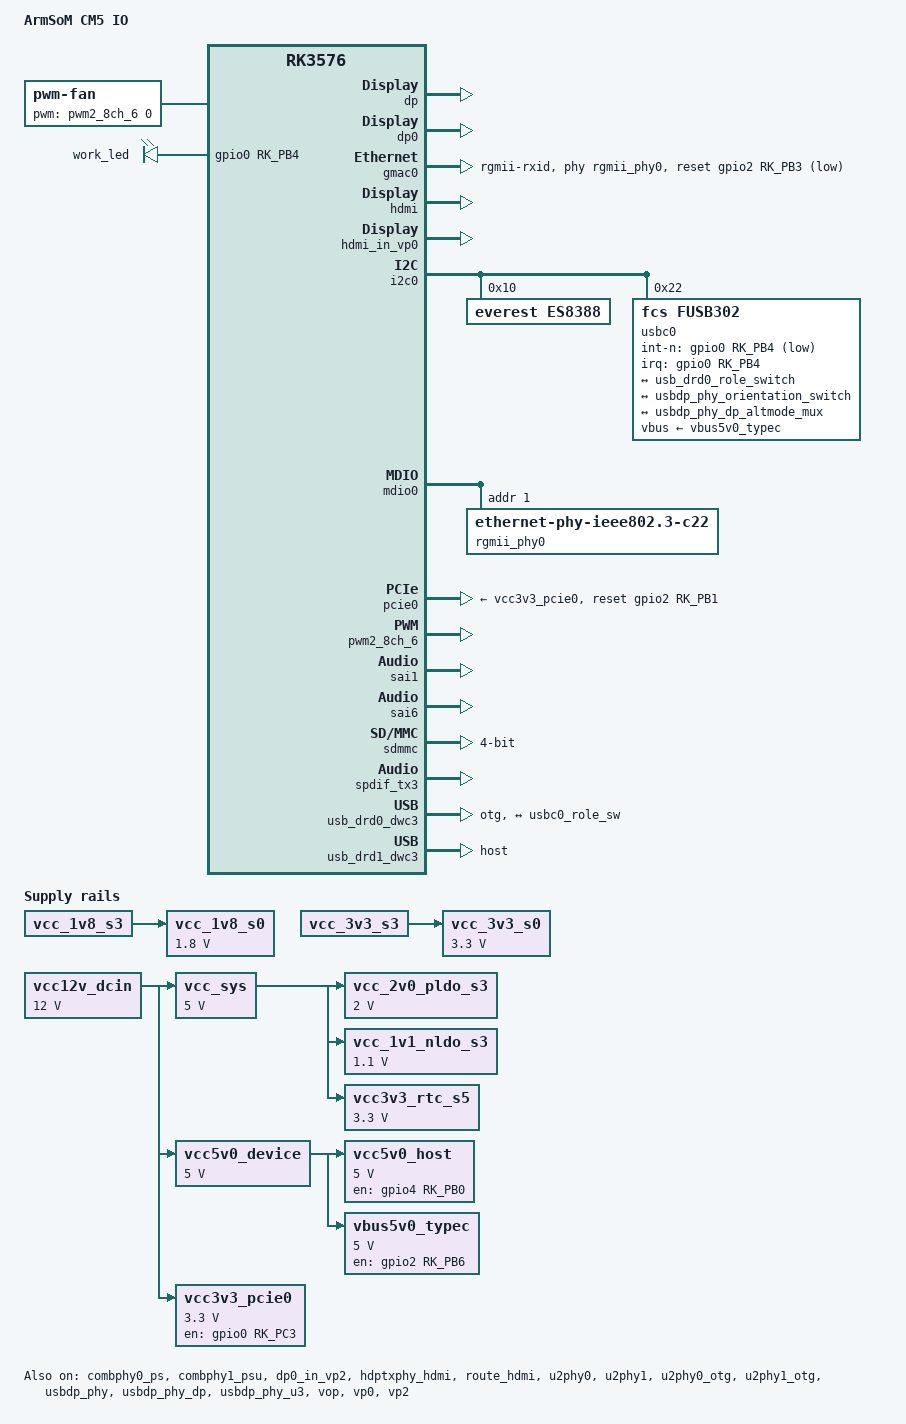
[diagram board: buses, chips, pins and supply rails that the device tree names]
// SPDX-License-Identifier: (GPL-2.0+ OR MIT)
/*
 * Copyright (c) 2024 Rockchip Electronics Co., Ltd.
 *
 */

/dts-v1/;

#include <dt-bindings/usb/pd.h>
#include <dt-bindings/gpio/gpio.h>
#include <dt-bindings/pwm/pwm.h>
#include <dt-bindings/pinctrl/rockchip.h>
#include <dt-bindings/display/rockchip_vop.h>
#include "rk3576-armsom-cm5.dtsi"
#include "rk3576-linux.dtsi"

/ {
	model = "ArmSoM CM5 IO";
	compatible = "armsom,cm5-io", "rockchip,rk3576";

	/delete-node/ chosen;

	dp0_sound: dp0-sound {
		compatible = "rockchip,hdmi";
		rockchip,mclk-fs = <512>;
		rockchip,card-name = "rockchip-dp0";
		rockchip,cpu = <&spdif_tx3>;
		rockchip,codec = <&dp0 1>;
		rockchip,jack-det;
	};

	es8388_sound: es8388-sound {
		compatible = "simple-audio-card";
		simple-audio-card,format = "i2s";
		simple-audio-card,mclk-fs = <256>;
		simple-audio-card,name = "rockchip,es8388-codec";
		simple-audio-card,dai-link@0 {
			format = "i2s";
			cpu {
				sound-dai = <&sai1>;
			};
			codec {
				sound-dai = <&es8388>;
			};
		};
	};

	fan: pwm-fan {
		compatible = "pwm-fan";
		#cooling-cells = <2>;
		pwms = <&pwm2_8ch_6 0 50000 0>;
		cooling-levels = <0 50 100 150 200 255>;
		rockchip,temp-trips = <
			50000	1
			55000	2
			60000	3
			65000	4
			70000	5
		>;
	};

	hdmi_sound: hdmi-sound {
		compatible = "rockchip,hdmi";
		rockchip,mclk-fs = <128>;
		rockchip,card-name = "rockchip-hdmi";
		rockchip,cpu = <&sai6>;
		rockchip,codec = <&hdmi>;
		rockchip,jack-det;
	};

	leds: leds {
		compatible = "gpio-leds";
		work_led: work {
			gpios = <&gpio0 RK_PB4 GPIO_ACTIVE_HIGH>;
			linux,default-trigger = "heartbeat";
		};
	};

	vcc12v_dcin: vcc12v-dcin {
		compatible = "regulator-fixed";
		regulator-name = "vcc12v_dcin";
		regulator-always-on;
		regulator-boot-on;
		regulator-min-microvolt = <12000000>;
		regulator-max-microvolt = <12000000>;
	};

	vcc_sys: vcc5v0-sys {
		compatible = "regulator-fixed";
		regulator-name = "vcc_sys";
		regulator-always-on;
		regulator-boot-on;
		regulator-min-microvolt = <5000000>;
		regulator-max-microvolt = <5000000>;
		vin-supply = <&vcc12v_dcin>;
	};

	vcc5v0_device: vcc5v0-device {
		compatible = "regulator-fixed";
		regulator-name = "vcc5v0_device";
		regulator-always-on;
		regulator-boot-on;
		regulator-min-microvolt = <5000000>;
		regulator-max-microvolt = <5000000>;
		vin-supply = <&vcc12v_dcin>;
	};

	vcc_2v0_pldo_s3: vcc-2v0-pldo-s3 {
		compatible = "regulator-fixed";
		regulator-name = "vcc_2v0_pldo_s3";
		regulator-boot-on;
		regulator-always-on;
		regulator-min-microvolt = <2000000>;
		regulator-max-microvolt = <2000000>;
		vin-supply = <&vcc_sys>;
	};

	vcc_1v1_nldo_s3: vcc-1v1-nldo-s3 {
		compatible = "regulator-fixed";
		regulator-name = "vcc_1v1_nldo_s3";
		regulator-boot-on;
		regulator-always-on;
		regulator-min-microvolt = <1100000>;
		regulator-max-microvolt = <1100000>;
		vin-supply = <&vcc_sys>;
	};

	vcc_1v8_s0: vcc-1v8-s0 {
		compatible = "regulator-fixed";
		regulator-name = "vcc_1v8_s0";
		regulator-boot-on;
		regulator-always-on;
		regulator-min-microvolt = <1800000>;
		regulator-max-microvolt = <1800000>;
		vin-supply = <&vcc_1v8_s3>;
	};

	vcc_3v3_s0: vcc-3v3-s0 {
		compatible = "regulator-fixed";
		regulator-name = "vcc_3v3_s0";
		regulator-boot-on;
		regulator-always-on;
		regulator-min-microvolt = <3300000>;
		regulator-max-microvolt = <3300000>;
		vin-supply = <&vcc_3v3_s3>;
	};

	vcc3v3_rtc_s5: vcc3v3-rtc-s5 {
		compatible = "regulator-fixed";
		regulator-name = "vcc3v3_rtc_s5";
		regulator-boot-on;
		regulator-always-on;
		regulator-min-microvolt = <3300000>;
		regulator-max-microvolt = <3300000>;
		vin-supply = <&vcc_sys>;
	};

	vcc5v0_host: vcc5v0-host {
		compatible = "regulator-fixed";
		regulator-name = "vcc5v0_host";
		regulator-boot-on;
		regulator-always-on;
		regulator-min-microvolt = <5000000>;
		regulator-max-microvolt = <5000000>;
		enable-active-high;
		gpio = <&gpio4 RK_PB0 GPIO_ACTIVE_HIGH>;
		vin-supply = <&vcc5v0_device>;
		pinctrl-names = "default";
		pinctrl-0 = <&usb_host_pwren>;
	};

	vbus5v0_typec: vbus5v0-typec {
		compatible = "regulator-fixed";
		regulator-name = "vbus5v0_typec";
		regulator-min-microvolt = <5000000>;
		regulator-max-microvolt = <5000000>;
		enable-active-high;
		gpio = <&gpio2 RK_PB6 GPIO_ACTIVE_HIGH>;
		vin-supply = <&vcc5v0_device>;
		pinctrl-names = "default";
		pinctrl-0 = <&usb_otg0_pwren>;
	};

	vcc3v3_pcie0: vcc3v3-pcie0 {
		compatible = "regulator-fixed";
		regulator-name = "vcc3v3_pcie0";
		regulator-min-microvolt = <3300000>;
		regulator-max-microvolt = <3300000>;
		enable-active-high;
		gpios = <&gpio0 RK_PC3 GPIO_ACTIVE_HIGH>;
		startup-delay-us = <5000>;
		vin-supply = <&vcc12v_dcin>;
	};
};

&combphy0_ps {
	status = "okay";
};

&combphy1_psu {
	status = "okay";
};

&display_subsystem {
	clocks = <&hdptxphy_hdmi>;
	clock-names = "hdmi0_phy_pll";
};

&dp {
	status = "okay";
};

&dp0 {
	status = "okay";
};

&dp0_in_vp2 {
	status = "okay";
};

&gmac0 {
	/* Use rgmii-rxid mode to disable rx delay inside Soc */
	phy-mode = "rgmii-rxid";
	clock_in_out = "output";

	snps,reset-gpio = <&gpio2 RK_PB3 GPIO_ACTIVE_LOW>;
	snps,reset-active-low;
	/* Reset time is 20ms, 100ms for rtl8211f */
	snps,reset-delays-us = <0 20000 100000>;

	pinctrl-names = "default";
	pinctrl-0 = <&eth0m0_miim
		     &eth0m0_tx_bus2
		     &eth0m0_rx_bus2
		     &eth0m0_rgmii_clk
		     &eth0m0_rgmii_bus
		     &ethm0_clk0_25m_out>;

	tx_delay = <0x21>;
	/* rx_delay = <0x3f>; */

	phy-handle = <&rgmii_phy0>;
	status = "okay";
};

&hdmi {
	status = "okay";
	//enable-gpios = <&gpio2 RK_PB0 GPIO_ACTIVE_HIGH>;
	rockchip,sda-falling-delay-ns = <360>;
};

&hdmi_in_vp0 {
	status = "okay";
};

&hdptxphy_hdmi {
	status = "okay";
};

&i2c0 {
	status = "okay";
	pinctrl-names = "default";
	pinctrl-0 = <&i2c0m1_xfer>;

	es8388: es8388@10 {
		status = "okay";
		#sound-dai-cells = <0>;
		compatible = "everest,es8388", "everest,es8323";
		reg = <0x10>;
		clocks = <&mclkout_sai1>;
		clock-names = "mclk";
		assigned-clocks = <&mclkout_sai1>;
		assigned-clock-rates = <12288000>;
		pinctrl-names = "default";
		pinctrl-0 = <&sai1m0_mclk>;
	};

	usbc0: fusb302@22 {
		compatible = "fcs,fusb302";
		reg = <0x22>;
		interrupt-parent = <&gpio0>;
		interrupts = <RK_PB4 IRQ_TYPE_LEVEL_LOW>;
		int-n-gpios = <&gpio0 RK_PB4 GPIO_ACTIVE_LOW>;
		pinctrl-names = "default";
		pinctrl-0 = <&usbc0_int>;
		vbus-supply = <&vbus5v0_typec>;
		status = "okay";

		port {
			usbc0_role_sw: endpoint {
				remote-endpoint = <&usb_drd0_role_switch>;
			};
		};

		usb_con: connector {
			compatible = "usb-c-connector";
			label = "USB-C";
			data-role = "dual";
			power-role = "dual";
			try-power-role = "sink";
			op-sink-microwatt = <1000000>;
			sink-pdos =
				<PDO_FIXED(5000, 3000, PDO_FIXED_USB_COMM)
				 PDO_FIXED(9000, 3000, PDO_FIXED_USB_COMM)
				 PDO_FIXED(12000, 3000, PDO_FIXED_USB_COMM) >;
			source-pdos =
				<PDO_FIXED(5000, 3000, PDO_FIXED_USB_COMM)>;

			altmodes {
				#address-cells = <1>;
				#size-cells = <0>;

				altmode@0 {
					reg = <0>;
					svid = <0xff01>;
					vdo = <0xffffffff>;
				};
			};

			ports {
				#address-cells = <1>;
				#size-cells = <0>;

				port@0 {
					reg = <0>;
					usbc0_orien_sw: endpoint {
						remote-endpoint = <&usbdp_phy_orientation_switch>;
					};
				};

				port@1 {
					reg = <1>;
					dp_altmode_mux: endpoint {
						remote-endpoint = <&usbdp_phy_dp_altmode_mux>;
					};
				};
			};

		};
	};
};

&mdio0 {
	rgmii_phy0: phy@1 {
		compatible = "ethernet-phy-ieee802.3-c22";
		reg = <0x1>;
		clocks = <&cru REFCLKO25M_GMAC0_OUT>;
	};
};

&pcie0 {
	reset-gpios = <&gpio2 RK_PB1 GPIO_ACTIVE_HIGH>;
	vpcie3v3-supply = <&vcc3v3_pcie0>;
	status = "okay";
};

&pinctrl {
	headphone {
		hp_det: hp-det {
			rockchip,pins = <0 RK_PD3 RK_FUNC_GPIO &pcfg_pull_up>;
		};
	};

	usb {
		usb_host_pwren: usb-host-pwren {
			rockchip,pins = <4 RK_PB0 RK_FUNC_GPIO &pcfg_pull_none>;
		};

		usb_otg0_pwren: usb-otg0-pwren {
			rockchip,pins = <2 RK_PB6 RK_FUNC_GPIO &pcfg_pull_none>;
		};

		usbc0_int: usbc0-int {
			rockchip,pins = <0 RK_PB4 RK_FUNC_GPIO &pcfg_pull_up>;
		};
	};
};

&pwm2_8ch_6 {
	status = "okay";
	pinctrl-0 = <&pwm2m2_ch6>;
};

&route_hdmi {
	status = "okay";
	connect = <&vp0_out_hdmi>;
};

&sai1 {
	status = "okay";
	pinctrl-names = "default";
	pinctrl-0 = <&sai1m0_lrck
		     &sai1m0_sclk
		     &sai1m0_sdi0
		     &sai1m0_sdo0>;
};

&sai6 {
	status = "okay";
};

&sdmmc {
	max-frequency = <200000000>;
	no-sdio;
	no-mmc;
	bus-width = <4>;
	cap-mmc-highspeed;
	cap-sd-highspeed;
	disable-wp;
	sd-uhs-sdr104;
	vqmmc-supply = <&vccio_sd_s0>;
	status = "okay";
};

&spdif_tx3 {
	status = "okay";
};

&u2phy0 {
	status = "okay";
};

&u2phy1 {
	status = "okay";
};

&u2phy0_otg {
	status = "okay";
	rockchip,typec-vbus-det;
};

&u2phy1_otg {
	status = "okay";
	phy-supply = <&vcc5v0_host>;
};

&usbdp_phy {
	status = "okay";
	orientation-switch;
	svid = <0xff01>;
	sbu1-dc-gpios = <&gpio4 RK_PC4 GPIO_ACTIVE_HIGH>;
	sbu2-dc-gpios = <&gpio4 RK_PC5 GPIO_ACTIVE_HIGH>;

	port {
		#address-cells = <1>;
		#size-cells = <0>;

		usbdp_phy_orientation_switch: endpoint@0 {
			reg = <0>;
			remote-endpoint = <&usbc0_orien_sw>;
		};

		usbdp_phy_dp_altmode_mux: endpoint@1 {
			reg = <1>;
			remote-endpoint = <&dp_altmode_mux>;
		};
	};
};

&usbdp_phy_dp {
	status = "okay";
};

&usbdp_phy_u3 {
	status = "okay";
};

&usb_drd0_dwc3 {
	status = "okay";
	dr_mode = "otg";
	usb-role-switch;
	port {
		usb_drd0_role_switch: endpoint {
			remote-endpoint = <&usbc0_role_sw>;
		};
	};
};

&usb_drd1_dwc3 {
	dr_mode = "host";
	status = "okay";
};

&vop {
	status = "okay";
	vop-supply = <&vdd_logic_s0>;
};

&vop_mmu {
	status = "okay";
};

&vp0 {
	status = "okay";
};

&vp2 {
	status = "okay";
	assigned-clocks = <&cru DCLK_VP2_SRC>;
	assigned-clock-parents = <&cru PLL_VPLL>;
};
